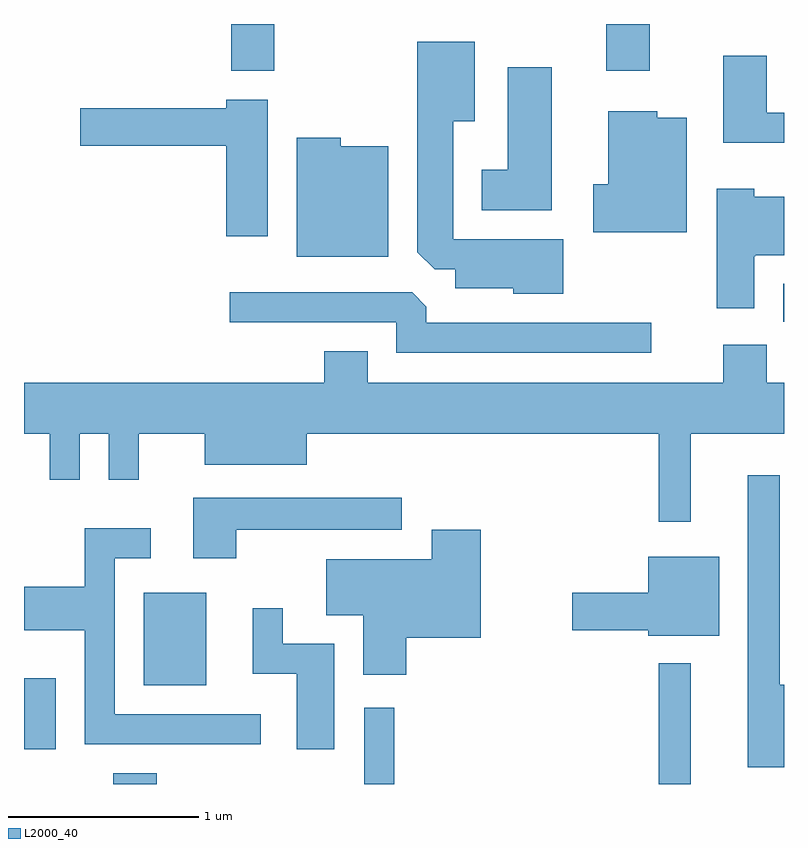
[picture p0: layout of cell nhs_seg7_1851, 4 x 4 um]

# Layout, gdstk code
import gdstk
lib = gdstk.Library(unit=1e-6, precision=1e-09)
def R(c, l, rs):  # rectangles x0, y0, x1, y1
    for r in rs: c.add(gdstk.rectangle(r[:2], r[2:], *l))
def P(c, l, *ps):  # polygons
    for p in ps: c.add(gdstk.Polygon(p, *l))
L2000_40 = (2000, 40)

nhs_seg7_1851 = lib.new_cell('nhs_seg7_1851')
R(nhs_seg7_1851, L2000_40, [(242.081,1710.252,242.309,1710.309), (243.401,1710.252,243.559,1710.653), (244.951,1710.252,245.119,1710.888), (241.611,1710.436,241.779,1710.809), (242.241,1710.771,242.569,1711.259), (245.606,1712.686,245.611,1712.884), (242.701,1714.006,242.929,1714.252), (244.676,1714.006,244.904,1714.252)])
P(nhs_seg7_1851, L2000_40, [(244.449,1713.119),(243.869,1713.119),(243.869,1713.741),(243.984,1713.741),(243.984,1714.159),(243.681,1714.159),(243.681,1713.052),(243.772,1712.961),(243.881,1712.961),(243.881,1712.861),(244.186,1712.861),(244.186,1712.831),(244.449,1712.831)],
  [(245.611,1713.784),(245.519,1713.784),(245.519,1714.084),(245.291,1714.084),(245.291,1713.626),(245.611,1713.626)],
  [(244.389,1714.024),(244.156,1714.024),(244.156,1713.484),(244.021,1713.484),(244.021,1713.271),(244.389,1713.271)],
  [(242.894,1713.854),(242.676,1713.854),(242.676,1713.809),(241.906,1713.809),(241.906,1713.611),(242.676,1713.611),(242.676,1713.136),(242.894,1713.136)],
  [(245.099,1713.759),(244.944,1713.759),(244.944,1713.794),(244.686,1713.794),(244.686,1713.409),(244.606,1713.409),(244.606,1713.156),(245.099,1713.156)],
  [(243.529,1713.609),(243.279,1713.609),(243.279,1713.654),(243.046,1713.654),(243.046,1713.026),(243.529,1713.026)],
  [(245.454,1713.03),(245.46,1713.03),(245.46,1713.036),(245.611,1713.036),(245.611,1713.344),(245.454,1713.344),(245.454,1713.384),(245.256,1713.384),(245.256,1712.756),(245.454,1712.756)],
  [(244.913,1712.679),(243.729,1712.679),(243.729,1712.764),(243.654,1712.839),(242.693,1712.839),(242.693,1712.681),(243.571,1712.681),(243.571,1712.521),(244.913,1712.521)],
  [(245.119,1712.096),(245.611,1712.096),(245.611,1712.364),(245.519,1712.364),(245.519,1712.564),(245.291,1712.564),(245.291,1712.364),(243.419,1712.364),(243.419,1712.529),(243.191,1712.529),(243.191,1712.364),(241.611,1712.364),(241.611,1712.096),(241.746,1712.096),(241.746,1711.853),(241.904,1711.853),(241.904,1712.096),(242.056,1712.096),(242.056,1711.853),(242.214,1711.853),(242.214,1712.096),(242.561,1712.096),(242.561,1711.931),(243.099,1711.931),(243.099,1712.096),(244.951,1712.096),(244.951,1711.633),(245.119,1711.633)],
  [(245.611,1710.774),(245.589,1710.774),(245.589,1711.878),(245.421,1711.878),(245.421,1710.341),(245.611,1710.341)],
  [(242.729,1711.591),(243.598,1711.591),(243.598,1711.759),(242.501,1711.759),(242.501,1711.441),(242.729,1711.441)],
  [(242.858,1710.619),(242.089,1710.619),(242.089,1711.441),(242.278,1711.441),(242.278,1711.599),(241.931,1711.599),(241.931,1711.289),(241.611,1711.289),(241.611,1711.061),(241.931,1711.061),(241.931,1710.461),(242.858,1710.461)],
  [(243.624,1711.021),(244.014,1711.021),(244.014,1711.589),(243.756,1711.589),(243.756,1711.434),(243.201,1711.434),(243.201,1711.141),(243.396,1711.141),(243.396,1710.826),(243.624,1710.826)],
  [(245.269,1711.449),(244.896,1711.449),(244.896,1711.259),(244.496,1711.259),(244.496,1711.061),(244.896,1711.061),(244.896,1711.031),(245.269,1711.031)],
  [(243.244,1710.989),(242.974,1710.989),(242.974,1711.178),(242.816,1711.178),(242.816,1710.831),(243.046,1710.831),(243.046,1710.436),(243.244,1710.436)])

lib.write_gds('nhs_seg7_1851.gds')
